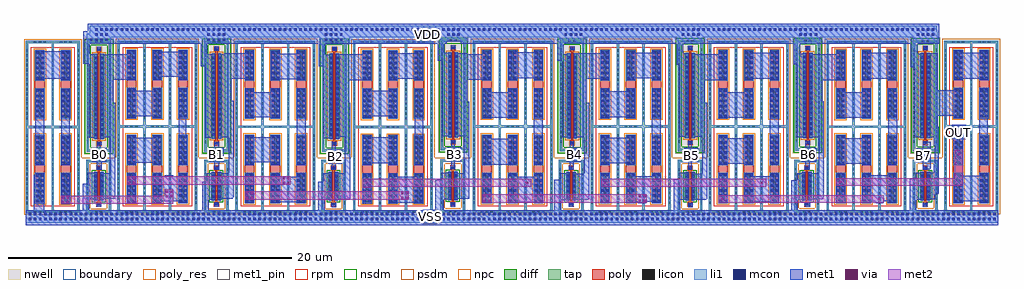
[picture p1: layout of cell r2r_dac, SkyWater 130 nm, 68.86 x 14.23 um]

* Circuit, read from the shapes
.subckt r2r_dac B0 B1 B2 B3 B4 B5 B6 B7 OUT VDD VSS
XM1 n1 B0 VSS VSS sky130_fd_pr__nfet_01v8 w=2 l=0.15
XM2 n2 B1 VSS VSS sky130_fd_pr__nfet_01v8 w=2 l=0.15
XM3 n3 B2 VSS VSS sky130_fd_pr__nfet_01v8 w=2 l=0.15
XM4 n4 B3 VSS VSS sky130_fd_pr__nfet_01v8 w=2 l=0.15
XM5 n5 B4 VSS VSS sky130_fd_pr__nfet_01v8 w=2 l=0.15
XM6 n6 B5 VSS VSS sky130_fd_pr__nfet_01v8 w=2 l=0.15
XM7 n7 B6 VSS VSS sky130_fd_pr__nfet_01v8 w=2 l=0.15
XM8 n8 B7 VSS VSS sky130_fd_pr__nfet_01v8 w=2 l=0.15
XM9 n1 B0 VDD VDD sky130_fd_pr__pfet_01v8 w=6 l=0.15
XM10 n2 B1 VDD VDD sky130_fd_pr__pfet_01v8 w=6 l=0.15
XM11 n3 B2 VDD VDD sky130_fd_pr__pfet_01v8 w=6 l=0.15
XM12 n4 B3 VDD VDD sky130_fd_pr__pfet_01v8 w=6 l=0.15
XM13 n5 B4 VDD VDD sky130_fd_pr__pfet_01v8 w=6 l=0.15
XM14 n6 B5 VDD VDD sky130_fd_pr__pfet_01v8 w=6 l=0.15
XM15 n7 B6 VDD VDD sky130_fd_pr__pfet_01v8 w=6 l=0.15
XM16 n8 B7 VDD VDD sky130_fd_pr__pfet_01v8 w=6 l=0.15
XR17 n9 VSS VSS sky130_fd_pr__res_high_po w=0.69 l=0.57
XR18 n10 n9 VSS sky130_fd_pr__res_high_po w=0.69 l=0.57
XR19 n11 n12 VSS sky130_fd_pr__res_high_po w=0.69 l=0.57
XR20 n10 n11 VSS sky130_fd_pr__res_high_po w=0.69 l=0.57
XR21 n13 n14 VSS sky130_fd_pr__res_high_po w=0.69 l=0.57
XR22 n1 n15 VSS sky130_fd_pr__res_high_po w=0.69 l=0.57
XR23 n13 n12 VSS sky130_fd_pr__res_high_po w=0.69 l=0.57
XR24 n16 n15 VSS sky130_fd_pr__res_high_po w=0.69 l=0.57
XR25 n17 n12 VSS sky130_fd_pr__res_high_po w=0.69 l=0.57
XR26 n16 n17 VSS sky130_fd_pr__res_high_po w=0.69 l=0.57
XR27 n18 n19 VSS sky130_fd_pr__res_high_po w=0.69 l=0.57
XR28 n2 n20 VSS sky130_fd_pr__res_high_po w=0.69 l=0.57
XR29 n18 n14 VSS sky130_fd_pr__res_high_po w=0.69 l=0.57
XR30 n21 n20 VSS sky130_fd_pr__res_high_po w=0.69 l=0.57
XR31 n22 n14 VSS sky130_fd_pr__res_high_po w=0.69 l=0.57
XR32 n21 n22 VSS sky130_fd_pr__res_high_po w=0.69 l=0.57
XR33 n23 n24 VSS sky130_fd_pr__res_high_po w=0.69 l=0.57
XR34 n3 n25 VSS sky130_fd_pr__res_high_po w=0.69 l=0.57
XR35 n23 n19 VSS sky130_fd_pr__res_high_po w=0.69 l=0.57
XR36 n26 n25 VSS sky130_fd_pr__res_high_po w=0.69 l=0.57
XR37 n27 n19 VSS sky130_fd_pr__res_high_po w=0.69 l=0.57
XR38 n26 n27 VSS sky130_fd_pr__res_high_po w=0.69 l=0.57
XR39 n28 n29 VSS sky130_fd_pr__res_high_po w=0.69 l=0.57
XR40 n4 n30 VSS sky130_fd_pr__res_high_po w=0.69 l=0.57
XR41 n28 n24 VSS sky130_fd_pr__res_high_po w=0.69 l=0.57
XR42 n31 n30 VSS sky130_fd_pr__res_high_po w=0.69 l=0.57
XR43 n32 n24 VSS sky130_fd_pr__res_high_po w=0.69 l=0.57
XR44 n31 n32 VSS sky130_fd_pr__res_high_po w=0.69 l=0.57
XR45 n33 n34 VSS sky130_fd_pr__res_high_po w=0.69 l=0.57
XR46 n5 n35 VSS sky130_fd_pr__res_high_po w=0.69 l=0.57
XR47 n33 n29 VSS sky130_fd_pr__res_high_po w=0.69 l=0.57
XR48 n36 n35 VSS sky130_fd_pr__res_high_po w=0.69 l=0.57
XR49 n37 n29 VSS sky130_fd_pr__res_high_po w=0.69 l=0.57
XR50 n36 n37 VSS sky130_fd_pr__res_high_po w=0.69 l=0.57
XR51 n38 n39 VSS sky130_fd_pr__res_high_po w=0.69 l=0.57
XR52 n6 n40 VSS sky130_fd_pr__res_high_po w=0.69 l=0.57
XR53 n38 n34 VSS sky130_fd_pr__res_high_po w=0.69 l=0.57
XR54 n41 n40 VSS sky130_fd_pr__res_high_po w=0.69 l=0.57
XR55 n42 n34 VSS sky130_fd_pr__res_high_po w=0.69 l=0.57
XR56 n41 n42 VSS sky130_fd_pr__res_high_po w=0.69 l=0.57
XR57 n43 OUT VSS sky130_fd_pr__res_high_po w=0.69 l=0.57
XR58 n7 n44 VSS sky130_fd_pr__res_high_po w=0.69 l=0.57
XR59 n43 n39 VSS sky130_fd_pr__res_high_po w=0.69 l=0.57
XR60 n45 n44 VSS sky130_fd_pr__res_high_po w=0.69 l=0.57
XR61 n46 n39 VSS sky130_fd_pr__res_high_po w=0.69 l=0.57
XR62 n45 n46 VSS sky130_fd_pr__res_high_po w=0.69 l=0.57
XR63 OUT n47 VSS sky130_fd_pr__res_high_po w=0.69 l=0.57
XR64 n48 n8 VSS sky130_fd_pr__res_high_po w=0.69 l=0.57
XR65 n49 n47 VSS sky130_fd_pr__res_high_po w=0.69 l=0.57
XR66 n48 n49 VSS sky130_fd_pr__res_high_po w=0.69 l=0.57
.ends

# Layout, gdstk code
from math import pi, radians
import gdstk
lib = gdstk.Library(unit=1e-6, precision=1e-09)
def R(c, l, rs):  # rectangles x0, y0, x1, y1
    for r in rs: c.add(gdstk.rectangle(r[:2], r[2:], *l))
def A(c, l, x, y, w, h, nx, ny, dx, dy):  # array of equal rectangles
    R(c, l, [(x+i*dx, y+j*dy, x+i*dx+w, y+j*dy+h) for i in range(nx) for j in range(ny)])
nwell = (64, 20)
diff = (65, 20)
tap = (65, 44)
poly_res = (66, 13)
poly = (66, 20)
licon = (66, 44)
li1 = (67, 20)
mcon = (67, 44)
met1_pin = (68, 16)
met1 = (68, 20)
via = (68, 44)
met2 = (69, 20)
rpm = (86, 20)
nsdm = (93, 44)
psdm = (94, 20)
npc = (95, 20)
boundary = (235, 4)

sky130_fd_pr__res_high_p = lib.new_cell('sky130_fd_pr__res_high_po_0p69_ZKG2N9')
R(sky130_fd_pr__res_high_p, tap, [(-0.995,-3.075,0.995,-2.905), (-0.995,-2.905,-0.825,2.905), (0.825,-2.905,0.995,2.905), (-0.995,2.905,0.995,3.075)])
R(sky130_fd_pr__res_high_p, poly_res, [(-0.345,-0.345,0.345,0.345)])
R(sky130_fd_pr__res_high_p, poly, [(-0.345,-2.425,0.345,2.425)])
A(sky130_fd_pr__res_high_p, licon, -0.425, -3.075, 0.17, 0.17, 3, 2, 0.34, 5.98)
A(sky130_fd_pr__res_high_p, licon, -0.995, -2.465, 0.17, 0.17, 1, 15, 0, 0.34)
A(sky130_fd_pr__res_high_p, licon, 0.825, -2.465, 0.17, 0.17, 1, 15, 0, 0.34)
R(sky130_fd_pr__res_high_p, licon, [(-0.095,-2.345,0.095,-0.345), (-0.095,0.345,0.095,2.345)])
R(sky130_fd_pr__res_high_p, li1, [(-0.995,-3.075,0.995,-2.905), (-0.995,-2.905,-0.825,2.905), (0.825,-2.905,0.995,2.905), (-0.345,-2.425,0.345,-0.265), (-0.345,0.265,0.345,2.425), (-0.995,2.905,0.995,3.075)])
A(sky130_fd_pr__res_high_p, mcon, -0.265, -2.33, 0.17, 0.17, 1, 6, 0, 0.36)
A(sky130_fd_pr__res_high_p, mcon, 0.095, -2.33, 0.17, 0.17, 1, 6, 0, 0.36)
A(sky130_fd_pr__res_high_p, mcon, -0.265, 0.355, 0.17, 0.17, 1, 6, 0, 0.36)
A(sky130_fd_pr__res_high_p, mcon, 0.095, 0.355, 0.17, 0.17, 1, 6, 0, 0.36)
R(sky130_fd_pr__res_high_p, met1, [(-0.295,-2.395,0.295,-0.29), (-0.295,0.29,0.295,2.395)])
R(sky130_fd_pr__res_high_p, rpm, [(-0.635,-2.625,0.635,2.625)])
R(sky130_fd_pr__res_high_p, psdm, [(-1.12,-3.2,1.12,3.2)])
R(sky130_fd_pr__res_high_p, npc, [(-0.44,-2.52,0.44,2.52)])
R(sky130_fd_pr__res_high_p, boundary, [(-0.91,-2.99,0.91,2.99)])

sky130_fd_pr__nfet_01v8_ = lib.new_cell('sky130_fd_pr__nfet_01v8_ATLS57')
R(sky130_fd_pr__nfet_01v8_, diff, [(-0.365,-1,0.365,1)])
R(sky130_fd_pr__nfet_01v8_, tap, [(-0.875,-1.87,0.875,-1.7), (-0.875,-1.7,-0.705,1.7), (0.705,-1.7,0.875,1.7), (-0.875,1.7,0.875,1.87)])
R(sky130_fd_pr__nfet_01v8_, poly, [(-0.165,-1.44,0.165,-1.11), (-0.075,-1.11,0.075,1.11), (-0.165,1.11,0.165,1.44)])
A(sky130_fd_pr__nfet_01v8_, licon, -0.875, -1.275, 0.17, 0.17, 1, 8, 0, 0.34)
A(sky130_fd_pr__nfet_01v8_, licon, 0.705, -1.275, 0.17, 0.17, 1, 8, 0, 0.34)
A(sky130_fd_pr__nfet_01v8_, licon, -0.305, -0.935, 0.17, 0.17, 1, 6, 0, 0.34)
A(sky130_fd_pr__nfet_01v8_, licon, 0.135, -0.935, 0.17, 0.17, 1, 6, 0, 0.34)
R(sky130_fd_pr__nfet_01v8_, licon, [(-0.255,-1.87,-0.085,-1.7), (0.085,-1.87,0.255,-1.7), (-0.085,-1.36,0.085,-1.19), (-0.085,1.19,0.085,1.36), (-0.255,1.7,-0.085,1.87), (0.085,1.7,0.255,1.87)])
R(sky130_fd_pr__nfet_01v8_, li1, [(-0.875,-1.87,0.875,-1.7), (-0.875,-1.7,-0.705,1.7), (0.705,-1.7,0.875,1.7), (-0.165,-1.36,0.165,-1.19), (-0.305,-1.02,-0.135,1.02), (0.135,-1.02,0.305,1.02), (-0.165,1.19,0.165,1.36), (-0.875,1.7,0.875,1.87)])
A(sky130_fd_pr__nfet_01v8_, mcon, -0.305, -0.805, 0.17, 0.17, 1, 5, 0, 0.36)
A(sky130_fd_pr__nfet_01v8_, mcon, 0.135, -0.805, 0.17, 0.17, 1, 5, 0, 0.36)
R(sky130_fd_pr__nfet_01v8_, mcon, [(-0.085,-1.36,0.085,-1.19), (-0.085,1.19,0.085,1.36)])
R(sky130_fd_pr__nfet_01v8_, met1, [(-0.145,-1.39,0.145,-1.16), (-0.335,-1,-0.105,1), (0.105,-1,0.335,1), (-0.145,1.16,0.145,1.39)])
R(sky130_fd_pr__nfet_01v8_, nsdm, [(-0.49,-1.125,0.49,1.125)])
R(sky130_fd_pr__nfet_01v8_, psdm, [(-1,-1.995,1,-1.575), (-1,-1.575,-0.58,1.575), (0.58,-1.575,1,1.575), (-1,1.575,1,1.995)])
R(sky130_fd_pr__nfet_01v8_, npc, [(-0.185,-1.46,0.185,-1.09), (-0.185,1.09,0.185,1.46)])
R(sky130_fd_pr__nfet_01v8_, boundary, [(-0.79,-1.785,0.79,1.785)])

sky130_fd_pr__pfet_01v8_ = lib.new_cell('sky130_fd_pr__pfet_01v8_XGA5KQ')
R(sky130_fd_pr__pfet_01v8_, nwell, [(-1.055,-4.095,1.055,4.095)])
R(sky130_fd_pr__pfet_01v8_, diff, [(-0.365,-3,0.365,3)])
R(sky130_fd_pr__pfet_01v8_, tap, [(-0.875,-3.915,0.875,-3.745), (-0.875,-3.745,-0.705,3.745), (0.705,-3.745,0.875,3.745), (-0.875,3.745,0.875,3.915)])
R(sky130_fd_pr__pfet_01v8_, poly, [(-0.165,-3.485,0.165,-3.155), (-0.075,-3.155,0.075,3.155), (-0.165,3.155,0.165,3.485)])
A(sky130_fd_pr__pfet_01v8_, licon, -0.875, -3.315, 0.17, 0.17, 1, 20, 0, 0.34)
A(sky130_fd_pr__pfet_01v8_, licon, 0.705, -3.315, 0.17, 0.17, 1, 20, 0, 0.34)
A(sky130_fd_pr__pfet_01v8_, licon, -0.305, -2.805, 0.17, 0.17, 1, 17, 0, 0.34)
A(sky130_fd_pr__pfet_01v8_, licon, 0.135, -2.805, 0.17, 0.17, 1, 17, 0, 0.34)
R(sky130_fd_pr__pfet_01v8_, licon, [(-0.255,-3.915,-0.085,-3.745), (0.085,-3.915,0.255,-3.745), (-0.085,-3.405,0.085,-3.235), (-0.085,3.235,0.085,3.405), (-0.255,3.745,-0.085,3.915), (0.085,3.745,0.255,3.915)])
R(sky130_fd_pr__pfet_01v8_, li1, [(-0.875,-3.915,0.875,-3.745), (-0.875,-3.745,-0.705,3.745), (0.705,-3.745,0.875,3.745), (-0.165,-3.405,0.165,-3.235), (-0.305,-3.02,-0.135,3.02), (0.135,-3.02,0.305,3.02), (-0.165,3.235,0.165,3.405), (-0.875,3.745,0.875,3.915)])
A(sky130_fd_pr__pfet_01v8_, mcon, -0.305, -2.785, 0.17, 0.17, 1, 16, 0, 0.36)
A(sky130_fd_pr__pfet_01v8_, mcon, 0.135, -2.785, 0.17, 0.17, 1, 16, 0, 0.36)
R(sky130_fd_pr__pfet_01v8_, mcon, [(-0.085,-3.405,0.085,-3.235), (-0.085,3.235,0.085,3.405)])
R(sky130_fd_pr__pfet_01v8_, met1, [(-0.145,-3.435,0.145,-3.205), (-0.335,-3,-0.105,3), (0.105,-3,0.335,3), (-0.145,3.205,0.145,3.435)])
R(sky130_fd_pr__pfet_01v8_, nsdm, [(-1,-4.04,1,-3.62), (-1,-3.62,-0.58,3.62), (0.58,-3.62,1,3.62), (-1,3.62,1,4.04)])
R(sky130_fd_pr__pfet_01v8_, psdm, [(-0.49,-3.125,0.49,3.125)])
R(sky130_fd_pr__pfet_01v8_, npc, [(-0.185,-3.505,0.185,-3.135), (-0.185,3.135,0.185,3.505)])
R(sky130_fd_pr__pfet_01v8_, boundary, [(-0.79,-3.83,0.79,3.83)])

r2r_dac = lib.new_cell('r2r_dac')
R(r2r_dac, li1, [(14.685,-112.89,83.3,-112.015), (35.41,-100.28,37.51,-100.2), (18.98,-100.22,20.69,-99.81), (35.41,-100.2,37.53,-99.81), (27.27,-100.19,28.98,-99.81), (52.36,-100.12,54.07,-99.81), (60.69,-100.12,62.4,-99.81), (68.98,-100.1,70.69,-99.81), (77.31,-100.09,79.02,-99.81), (43.99,-100.08,45.7,-100.01), (43.92,-100.01,45.82,-99.81), (18.98,-99.81,79.02,-99.57), (19.2,-99.57,79.02,-99.44), (19.2,-99.44,78.96,-98.99)])
A(r2r_dac, mcon, 14.9, -112.72, 0.17, 0.17, 190, 2, 0.36, 0.36)
A(r2r_dac, mcon, 19.22, -100.06, 0.17, 0.17, 4, 1, 0.36, 0)
A(r2r_dac, mcon, 27.5, -100.06, 0.17, 0.17, 4, 2, 0.36, 0.36)
A(r2r_dac, mcon, 35.78, -100.06, 0.17, 0.17, 4, 2, 0.36, 0.36)
A(r2r_dac, mcon, 19.58, -99.7, 0.17, 0.17, 3, 1, 0.36, 0)
A(r2r_dac, mcon, 44.42, -99.7, 0.17, 0.17, 3, 1, 0.36, 0)
A(r2r_dac, mcon, 52.7, -99.7, 0.17, 0.17, 4, 1, 0.36, 0)
A(r2r_dac, mcon, 60.98, -99.7, 0.17, 0.17, 4, 1, 0.36, 0)
A(r2r_dac, mcon, 69.26, -99.7, 0.17, 0.17, 4, 1, 0.36, 0)
A(r2r_dac, mcon, 77.54, -99.7, 0.17, 0.17, 4, 1, 0.36, 0)
A(r2r_dac, mcon, 19.58, -99.34, 0.17, 0.17, 165, 1, 0.36, 0)
R(r2r_dac, met1_pin, [(42.73,-112.975,43.73,-111.975), (36.02,-108.72,37.02,-107.72), (77.53,-108.625,78.53,-107.625), (61.135,-108.615,62.135,-107.615), (27.66,-108.605,28.66,-107.605), (19.375,-108.6,20.375,-107.6), (52.865,-108.6,53.865,-107.6), (69.44,-108.585,70.44,-107.585), (44.42,-108.56,45.42,-107.56), (80.005,-106.99,81.005,-105.99), (42.56,-100.13,43.56,-99.13)])
R(r2r_dac, met1, [(14.675,-113.075,83.305,-112.495), (14.685,-112.495,83.3,-112.015), (15.265,-112.015,15.99,-109.49), (17.2,-112.015,17.795,-112.005), (18.7,-112.015,19.16,-111.24), (27.125,-112.015,27.585,-111.27), (35.32,-112.015,35.78,-111.28), (42.73,-112.015,44.185,-111.975), (51.97,-112.015,52.43,-111.29), (60.405,-112.015,60.865,-111.27), (68.695,-112.015,69.155,-111.28), (77.05,-112.015,77.51,-111.25), (43.575,-111.975,44.185,-111.24), (36.29,-111.78,36.605,-111.49), (61.43,-111.78,61.745,-111.49), (19.685,-111.755,20,-111.465), (44.655,-111.755,44.97,-111.465), (77.985,-111.755,78.3,-111.465), (27.99,-111.745,28.305,-111.455), (53.01,-111.745,53.325,-111.455), (69.705,-111.745,70.02,-111.455), (17.2,-111.595,17.795,-110.325), (38.465,-111.545,39.01,-109.555), (30.195,-111.525,30.74,-111.3), (71.87,-111.525,72.415,-109.505), (63.565,-111.515,64.11,-109.485), (74.64,-111.515,75.185,-111.365), (46.92,-111.51,47.51,-109.61), (57.88,-111.51,58.47,-111.425), (21.865,-111.47,22.425,-110.245), (40.3,-111.465,42.6,-109.65), (32.085,-111.445,34.075,-109.66), (48.765,-111.445,51.065,-109.63), (55.3,-111.425,55.845,-109.405), (57.09,-111.425,59.39,-109.61), (65.375,-111.425,67.675,-109.61), (23.855,-111.385,25.845,-109.6), (80.25,-111.385,82.55,-109.57), (73.78,-111.365,76.08,-109.55), (30.18,-111.3,30.77,-110.65), (51.97,-111.29,52.96,-109.845), (35.32,-111.28,36.27,-109.995), (68.695,-111.28,69.675,-109.875), (27.125,-111.27,28.045,-110.005), (60.405,-111.27,61.365,-109.835), (61.68,-111.26,62.695,-111.195), (53.32,-111.25,54.335,-111.22), (77.05,-111.25,78.02,-109.785), (78.325,-111.245,78.86,-110.86), (18.7,-111.24,19.66,-110.155), (43.575,-111.24,44.645,-109.905), (36.57,-111.225,37.585,-109.405), (69.945,-111.225,70.96,-111.095), (53.32,-111.22,54.45,-109.43), (28.275,-111.21,29.29,-111.08), (19.995,-111.2,21.01,-109.38), (44.955,-111.2,45.97,-109.38), (61.68,-111.195,62.78,-109.44), (69.945,-111.095,71,-109.405), (28.275,-111.08,29.375,-109.39), (78.325,-110.86,79.085,-109.365), (30.195,-110.65,30.74,-109.535), (17.2,-110.325,17.78,-109.5), (21.85,-110.245,22.44,-109.595), (19.06,-110.155,19.66,-109.37), (27.445,-110.005,28.045,-109.4), (35.67,-109.995,36.27,-109.41), (43.725,-109.905,44.645,-109.855), (69.125,-109.875,69.675,-109.38), (44.045,-109.855,44.645,-109.37), (52.41,-109.845,52.96,-109.39), (60.815,-109.835,61.365,-109.37), (77.47,-109.785,78.02,-109.35), (32.745,-109.66,33.335,-109.595), (46.945,-109.61,47.49,-109.495), (24.49,-109.6,25.085,-109.525), (21.865,-109.595,22.425,-109.415), (62.405,-109.44,62.78,-106.835), (54.075,-109.43,54.45,-106.87), (37.19,-109.405,37.565,-106.82), (70.625,-109.405,71,-106.86), (29,-109.39,29.375,-106.845), (20.61,-109.38,20.985,-106.865), (45.595,-109.38,45.97,-106.77), (78.755,-109.365,79.085,-108.715), (27.99,-109.155,28.32,-108.605), (19.71,-109.135,20.04,-108.6), (36.28,-109.13,36.54,-108.72), (61.415,-109.13,61.665,-108.615), (69.665,-109.13,70.01,-108.585), (53.08,-109.12,53.33,-108.6), (78.06,-109.115,78.455,-109.1), (44.705,-109.105,44.955,-108.56), (77.98,-109.1,78.455,-109.09), (77.98,-109.09,78.525,-108.625), (50.54,-108.8,51.16,-103.48), (46.93,-108.785,49.23,-106.97), (15.365,-108.765,15.99,-103.745), (33.81,-108.765,34.435,-103.745), (17.18,-108.745,17.805,-103.725), (42.115,-108.725,42.74,-103.705), (58.865,-108.725,59.49,-103.705), (63.62,-108.725,65.92,-106.91), (71.985,-108.725,74.285,-106.91), (36.02,-108.72,37.02,-107.72), (78.8,-108.715,79.085,-108.42), (80.245,-108.71,80.79,-108.675), (55.315,-108.705,57.615,-106.89), (75.55,-108.705,76.175,-103.685), (38.525,-108.685,40.825,-106.87), (67.185,-108.685,67.81,-103.665), (25.465,-108.68,25.995,-103.735), (80.115,-108.675,80.83,-106.99), (21.98,-108.665,23.97,-106.88), (81.94,-108.665,82.565,-103.645), (30.32,-108.625,32.31,-106.84), (77.53,-108.625,78.53,-107.625), (61.135,-108.615,62.135,-107.615), (27.66,-108.605,28.66,-107.605), (19.375,-108.6,20.375,-107.6), (52.865,-108.6,53.865,-107.6), (69.44,-108.585,70.44,-107.585), (44.42,-108.56,45.42,-107.56), (78.825,-108.42,79.085,-107.42), (36.28,-107.72,36.54,-107.17), (77.98,-107.625,78.525,-107.19), (61.415,-107.615,61.665,-107.145), (27.99,-107.605,28.32,-107.19), (19.71,-107.6,19.97,-107.43), (53.08,-107.6,53.33,-107.135), (69.665,-107.585,70.01,-107.095), (44.705,-107.56,44.955,-107.12), (19.71,-107.43,20.04,-107.17), (78.755,-107.42,79.085,-106.84), (78.06,-107.19,78.525,-107.185), (78.19,-107.185,78.525,-107.18), (80.005,-106.99,81.005,-105.99), (35.72,-106.91,36.29,-101.835), (19.15,-106.89,19.72,-101.685), (27.365,-106.89,27.935,-101.845), (53.37,-106.87,54.45,-104.435), (20.005,-106.865,20.985,-104.41), (52.54,-106.86,53.11,-101.475), (70.01,-106.86,71,-104.31), (69.075,-106.85,69.645,-101.705), (77.39,-106.85,77.96,-101.935), (28.34,-106.845,29.375,-104.295), (78.36,-106.84,79.085,-106.105), (61.73,-106.835,62.78,-104.41), (36.635,-106.82,37.565,-104.42), (60.795,-106.81,61.365,-101.755), (44.065,-106.77,44.635,-101.455), (44.99,-106.77,45.97,-104.37), (78.36,-106.105,79.045,-105.34), (46.97,-105.48,49.27,-103.665), (63.7,-105.48,66,-103.665), (71.985,-105.48,74.285,-103.665), (30.32,-105.455,32.31,-103.67), (55.315,-105.44,57.615,-103.625), (38.525,-105.38,40.825,-103.565), (22.03,-105.37,24.02,-103.585), (78.335,-105.34,80.635,-103.525), (53.37,-104.435,54.225,-102.74), (36.635,-104.42,37.49,-102.82), (20.005,-104.41,20.86,-102.8), (61.73,-104.41,62.585,-102.82), (44.99,-104.37,45.845,-102.8), (70.01,-104.31,70.865,-102.82), (28.34,-104.295,29.195,-102.715), (78.36,-103.525,79.045,-100.94), (36.63,-102.82,38.93,-101.005), (61.685,-102.82,63.985,-101.005), (70.01,-102.82,72.41,-101.025), (20.005,-102.8,22.435,-101.03), (44.99,-102.8,47.355,-100.985), (32.135,-102.765,34.125,-100.98), (15.425,-102.74,17.705,-100.785), (40.3,-102.74,42.6,-100.925), (53.37,-102.74,55.7,-101.035), (65.435,-102.72,67.735,-100.905), (73.76,-102.72,76.06,-100.905), (80.27,-102.72,82.57,-100.905), (28.34,-102.715,30.665,-101.01), (57.09,-102.7,59.39,-100.885), (48.825,-102.68,51.125,-100.865), (23.945,-102.6,25.935,-100.815), (77.14,-101.935,77.96,-100.975), (27.035,-101.845,27.935,-101.015), (35.37,-101.835,36.29,-101.035), (60.625,-101.755,61.365,-100.935), (68.865,-101.705,69.645,-100.975), (18.74,-101.685,19.72,-101.015), (52.17,-101.475,53.11,-100.985), (43.745,-101.455,44.635,-100.895), (35.37,-101.035,35.83,-100.25), (53.4,-101.035,55.7,-100.925), (20.445,-101.03,22.435,-101.015), (70.11,-101.025,72.41,-101.005), (18.74,-101.015,19.2,-100.25), (27.035,-101.015,27.495,-100.25), (28.675,-101.01,30.665,-100.93), (36.635,-101.005,37.49,-100.985), (61.73,-101.005,62.585,-101), (44.99,-100.985,45.845,-100.935), (52.17,-100.985,52.63,-100.25), (68.865,-100.975,69.325,-100.25), (77.14,-100.975,77.6,-100.25), (60.625,-100.935,61.085,-100.25), (43.745,-100.895,44.205,-100.25), (19.7,-100.765,20.015,-100.475), (36.315,-100.765,36.63,-100.475), (28,-100.74,28.315,-100.45), (53.085,-100.725,53.4,-100.435), (69.705,-100.715,70.02,-100.425), (78.02,-100.7,78.335,-100.41), (61.4,-100.69,61.715,-100.4), (44.68,-100.64,44.995,-100.35), (18.74,-100.25,44.39,-100.085), (45.38,-100.25,79.15,-100.085), (18.74,-100.085,79.15,-99.385), (19.045,-99.385,79.15,-98.85), (19.045,-98.85,46.58,-98.845), (49.57,-98.85,79.15,-98.845), (45.94,-98.845,46.58,-98.84), (49.57,-98.845,50.3,-98.84)])
R(r2r_dac, via, [(17.26,-111.505,17.41,-111.355), (17.58,-111.505,17.73,-111.355), (46.98,-111.42,47.13,-111.27), (47.3,-111.42,47.45,-111.27), (57.94,-111.42,58.09,-111.27), (58.26,-111.42,58.41,-111.27), (63.76,-111.29,63.91,-111.14), (74.835,-111.29,74.985,-111.14), (30.24,-111.21,30.39,-111.06), (30.56,-111.21,30.71,-111.06), (41.16,-111.21,41.31,-111.06), (41.48,-111.21,41.63,-111.06), (17.26,-111.185,17.41,-111.035), (17.58,-111.185,17.73,-111.035), (46.98,-111.1,47.13,-110.95), (47.3,-111.1,47.45,-110.95), (57.94,-111.1,58.09,-110.95), (58.26,-111.1,58.41,-110.95), (24.55,-111.095,24.7,-110.945), (24.87,-111.095,25.02,-110.945), (30.24,-110.89,30.39,-110.74), (30.56,-110.89,30.71,-110.74), (41.16,-110.89,41.31,-110.74), (41.48,-110.89,41.63,-110.74), (24.55,-110.775,24.7,-110.625), (24.87,-110.775,25.02,-110.625), (21.91,-110.155,22.06,-110.005), (22.23,-110.155,22.38,-110.005), (32.805,-110.155,32.955,-110.005), (33.125,-110.155,33.275,-110.005), (38.66,-110.145,38.81,-109.995), (55.495,-110.145,55.645,-109.995), (66.54,-110.145,66.69,-109.995), (49.97,-110.14,50.12,-109.99), (72.065,-110.09,72.215,-109.94), (21.91,-109.835,22.06,-109.685), (22.23,-109.835,22.38,-109.685), (32.805,-109.835,32.955,-109.685), (33.125,-109.835,33.275,-109.685), (80.44,-108.12,80.59,-107.97)])
R(r2r_dac, met2, [(17.17,-111.565,25.085,-110.97), (63.535,-111.485,75.215,-110.94), (46.89,-111.48,58.5,-110.89), (30.15,-111.27,41.72,-110.68), (24.49,-110.97,25.085,-110.53), (38.41,-110.405,39.06,-110.335), (55.27,-110.34,66.92,-109.795), (38.41,-110.335,50.35,-109.79), (71.84,-110.285,80.79,-109.74), (21.82,-110.215,33.365,-109.625), (38.41,-109.79,39.06,-109.77), (80.245,-109.74,80.79,-107.74)])
A(r2r_dac, rpm, 46.58, -106.475, 4.91, 0.73, 3, 1, 8.33, 0)
R(r2r_dac, rpm, [(39.405,-111.74,39.955,-106.49), (41.225,-111.74,41.775,-106.49), (16.315,-111.735,16.865,-106.485), (31.11,-111.73,31.66,-106.48), (32.93,-111.73,33.48,-106.48), (72.815,-111.73,73.365,-106.48), (74.635,-111.73,75.185,-106.48), (47.85,-111.725,48.4,-106.475), (49.67,-111.725,50.22,-106.475), (56.18,-111.725,56.73,-106.475), (58,-111.725,58.55,-106.475), (64.51,-111.725,65.06,-106.475), (66.33,-111.725,66.88,-106.475), (22.78,-111.72,23.33,-106.47), (24.6,-111.72,25.15,-106.47), (81.115,-111.72,81.665,-106.47), (38.135,-106.49,43.045,-105.76), (15.045,-106.485,18.135,-105.755), (29.84,-106.48,34.75,-105.75), (71.545,-106.48,76.455,-105.75), (21.51,-106.47,26.42,-105.74), (79.845,-106.47,82.935,-105.74), (39.405,-105.76,39.955,-100.51), (41.225,-105.76,41.775,-100.51), (16.315,-105.755,16.865,-100.505), (31.11,-105.75,31.66,-100.5), (32.93,-105.75,33.48,-100.5), (72.815,-105.75,73.365,-100.5), (74.635,-105.75,75.185,-100.5), (47.85,-105.745,48.4,-100.495), (49.67,-105.745,50.22,-100.495), (56.18,-105.745,56.73,-100.495), (58,-105.745,58.55,-100.495), (64.51,-105.745,65.06,-100.495), (66.33,-105.745,66.88,-100.495), (22.78,-105.74,23.33,-100.49), (24.6,-105.74,25.15,-100.49), (81.115,-105.74,81.665,-100.49)])
R(r2r_dac, psdm, [(18.62,-112.305,18.83,-108.315), (29.135,-112.305,29.355,-108.315), (35.235,-112.305,35.395,-108.315), (37.395,-112.305,37.65,-108.315), (51.975,-112.3,52.165,-108.315), (54.165,-112.3,54.425,-108.315), (60.305,-112.3,60.55,-108.32), (62.55,-112.3,62.755,-108.32), (68.635,-112.3,68.79,-108.31), (70.79,-112.3,71.06,-108.31), (76.94,-112.3,77.155,-108.31), (20.83,-112.295,21.025,-108.315), (26.905,-112.295,27.135,-108.315), (79.155,-112.295,79.36,-108.31), (43.53,-112.285,43.815,-108.295), (45.815,-112.285,46.095,-108.295)])
r2r_dac.add(gdstk.Reference(sky130_fd_pr__res_high_p, (17.5,-103.13)))
r2r_dac.add(gdstk.Reference(sky130_fd_pr__res_high_p, (15.68,-109.11)))
r2r_dac.add(gdstk.Reference(sky130_fd_pr__res_high_p, (17.5,-109.11)))
r2r_dac.add(gdstk.Reference(sky130_fd_pr__res_high_p, (15.68,-103.13)))
r2r_dac.add(gdstk.Reference(sky130_fd_pr__nfet_01v8_, (19.83,-110.31)))
r2r_dac.add(gdstk.Reference(sky130_fd_pr__pfet_01v8_, (19.85,-103.97)))
r2r_dac.add(gdstk.Reference(sky130_fd_pr__res_high_p, (22.145,-103.115), rotation=pi))
r2r_dac.add(gdstk.Reference(sky130_fd_pr__res_high_p, (22.145,-109.095), rotation=pi))
r2r_dac.add(gdstk.Reference(sky130_fd_pr__res_high_p, (23.965,-103.115), rotation=pi))
r2r_dac.add(gdstk.Reference(sky130_fd_pr__res_high_p, (23.965,-109.095), rotation=pi))
r2r_dac.add(gdstk.Reference(sky130_fd_pr__res_high_p, (25.785,-103.115), rotation=pi))
r2r_dac.add(gdstk.Reference(sky130_fd_pr__res_high_p, (25.785,-109.095), rotation=pi))
r2r_dac.add(gdstk.Reference(sky130_fd_pr__nfet_01v8_, (28.135,-110.31)))
r2r_dac.add(gdstk.Reference(sky130_fd_pr__pfet_01v8_, (28.145,-103.955)))
r2r_dac.add(gdstk.Reference(sky130_fd_pr__res_high_p, (30.475,-103.125), rotation=pi))
r2r_dac.add(gdstk.Reference(sky130_fd_pr__res_high_p, (30.475,-109.105), rotation=pi))
r2r_dac.add(gdstk.Reference(sky130_fd_pr__res_high_p, (34.115,-103.125), rotation=pi))
r2r_dac.add(gdstk.Reference(sky130_fd_pr__res_high_p, (32.295,-103.125), rotation=pi))
r2r_dac.add(gdstk.Reference(sky130_fd_pr__res_high_p, (34.115,-109.105), rotation=pi))
r2r_dac.add(gdstk.Reference(sky130_fd_pr__res_high_p, (32.295,-109.105), rotation=pi))
r2r_dac.add(gdstk.Reference(sky130_fd_pr__nfet_01v8_, (36.395,-110.31)))
r2r_dac.add(gdstk.Reference(sky130_fd_pr__pfet_01v8_, (36.46,-103.965)))
r2r_dac.add(gdstk.Reference(sky130_fd_pr__res_high_p, (38.77,-109.115), rotation=pi))
r2r_dac.add(gdstk.Reference(sky130_fd_pr__res_high_p, (38.77,-103.135), rotation=pi))
r2r_dac.add(gdstk.Reference(sky130_fd_pr__res_high_p, (40.59,-109.115), rotation=pi))
r2r_dac.add(gdstk.Reference(sky130_fd_pr__res_high_p, (40.59,-103.135), rotation=pi))
r2r_dac.add(gdstk.Reference(sky130_fd_pr__res_high_p, (42.41,-109.115), rotation=pi))
r2r_dac.add(gdstk.Reference(sky130_fd_pr__res_high_p, (42.41,-103.135), rotation=pi))
r2r_dac.add(gdstk.Reference(sky130_fd_pr__nfet_01v8_, (44.815,-110.29)))
r2r_dac.add(gdstk.Reference(sky130_fd_pr__pfet_01v8_, (44.84,-103.865)))
r2r_dac.add(gdstk.Reference(sky130_fd_pr__res_high_p, (47.215,-103.12), rotation=pi))
r2r_dac.add(gdstk.Reference(sky130_fd_pr__res_high_p, (47.215,-109.1), rotation=pi))
r2r_dac.add(gdstk.Reference(sky130_fd_pr__res_high_p, (50.855,-103.12), rotation=pi))
r2r_dac.add(gdstk.Reference(sky130_fd_pr__res_high_p, (49.035,-103.12), rotation=pi))
r2r_dac.add(gdstk.Reference(sky130_fd_pr__res_high_p, (50.855,-109.1), rotation=pi))
r2r_dac.add(gdstk.Reference(sky130_fd_pr__res_high_p, (49.035,-109.1), rotation=pi))
r2r_dac.add(gdstk.Reference(sky130_fd_pr__nfet_01v8_, (53.165,-110.31)))
r2r_dac.add(gdstk.Reference(sky130_fd_pr__pfet_01v8_, (53.23,-103.94)))
r2r_dac.add(gdstk.Reference(sky130_fd_pr__res_high_p, (55.545,-103.12), rotation=pi))
r2r_dac.add(gdstk.Reference(sky130_fd_pr__res_high_p, (55.545,-109.1), rotation=pi))
r2r_dac.add(gdstk.Reference(sky130_fd_pr__res_high_p, (57.365,-103.12), rotation=pi))
r2r_dac.add(gdstk.Reference(sky130_fd_pr__res_high_p, (57.365,-109.1), rotation=pi))
r2r_dac.add(gdstk.Reference(sky130_fd_pr__res_high_p, (59.185,-103.12), rotation=pi))
r2r_dac.add(gdstk.Reference(sky130_fd_pr__res_high_p, (59.185,-109.1), rotation=pi))
r2r_dac.add(gdstk.Reference(sky130_fd_pr__nfet_01v8_, (61.55,-110.315)))
r2r_dac.add(gdstk.Reference(sky130_fd_pr__pfet_01v8_, (61.56,-103.915)))
r2r_dac.add(gdstk.Reference(sky130_fd_pr__res_high_p, (63.875,-109.1), rotation=pi))
r2r_dac.add(gdstk.Reference(sky130_fd_pr__res_high_p, (63.875,-103.12), rotation=pi))
r2r_dac.add(gdstk.Reference(sky130_fd_pr__res_high_p, (65.695,-109.1)))
r2r_dac.add(gdstk.Reference(sky130_fd_pr__res_high_p, (65.695,-103.12), rotation=pi))
r2r_dac.add(gdstk.Reference(sky130_fd_pr__res_high_p, (67.515,-109.1)))
r2r_dac.add(gdstk.Reference(sky130_fd_pr__res_high_p, (67.515,-103.12), rotation=pi))
r2r_dac.add(gdstk.Reference(sky130_fd_pr__nfet_01v8_, (69.79,-110.305)))
r2r_dac.add(gdstk.Reference(sky130_fd_pr__pfet_01v8_, (69.855,-103.9)))
r2r_dac.add(gdstk.Reference(sky130_fd_pr__res_high_p, (72.18,-103.125), rotation=pi))
r2r_dac.add(gdstk.Reference(sky130_fd_pr__res_high_p, (72.18,-109.105), rotation=pi))
r2r_dac.add(gdstk.Reference(sky130_fd_pr__res_high_p, (74,-103.125), rotation=pi))
r2r_dac.add(gdstk.Reference(sky130_fd_pr__res_high_p, (74,-109.105), rotation=pi))
r2r_dac.add(gdstk.Reference(sky130_fd_pr__res_high_p, (75.82,-103.125), rotation=pi))
r2r_dac.add(gdstk.Reference(sky130_fd_pr__res_high_p, (75.82,-109.105), rotation=pi))
r2r_dac.add(gdstk.Reference(sky130_fd_pr__nfet_01v8_, (78.155,-110.305)))
r2r_dac.add(gdstk.Reference(sky130_fd_pr__pfet_01v8_, (78.155,-103.92)))
r2r_dac.add(gdstk.Reference(sky130_fd_pr__res_high_p, (80.48,-109.095)))
r2r_dac.add(gdstk.Reference(sky130_fd_pr__res_high_p, (80.48,-103.115)))
r2r_dac.add(gdstk.Reference(sky130_fd_pr__res_high_p, (82.3,-109.095)))
r2r_dac.add(gdstk.Reference(sky130_fd_pr__res_high_p, (82.3,-103.115)))
r2r_dac.add(gdstk.Label('VDD', (43.06,-99.63), layer=68, texttype=5))
r2r_dac.add(gdstk.Label('B7', (78.03,-108.125), layer=68, texttype=5))
r2r_dac.add(gdstk.Label('B6', (69.94,-108.085), layer=68, texttype=5))
r2r_dac.add(gdstk.Label('B5', (61.635,-108.115), layer=68, texttype=5))
r2r_dac.add(gdstk.Label('B4', (53.365,-108.1), layer=68, texttype=5))
r2r_dac.add(gdstk.Label('B3', (44.92,-108.06), layer=68, texttype=5))
r2r_dac.add(gdstk.Label('B2', (36.52,-108.22), layer=68, texttype=5))
r2r_dac.add(gdstk.Label('B1', (28.16,-108.105), layer=68, texttype=5))
r2r_dac.add(gdstk.Label('B0', (19.875,-108.1), layer=68, texttype=5))
r2r_dac.add(gdstk.Label('OUT', (80.505,-106.49), layer=68, texttype=5))
r2r_dac.add(gdstk.Label('VSS', (43.23,-112.475), layer=68, texttype=5))

lib.write_gds('r2r_dac.gds')
